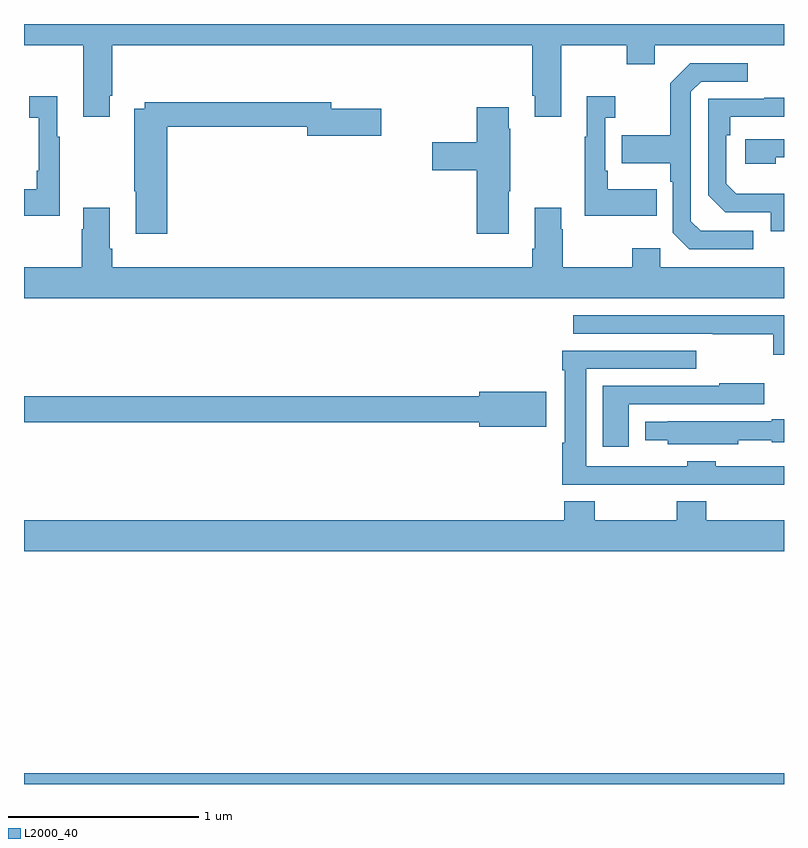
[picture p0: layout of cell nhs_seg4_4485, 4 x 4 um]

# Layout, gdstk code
import gdstk
lib = gdstk.Library(unit=1e-6, precision=1e-09)
def R(c, l, rs):  # rectangles x0, y0, x1, y1
    for r in rs: c.add(gdstk.rectangle(r[:2], r[2:], *l))
def P(c, l, *ps):  # polygons
    for p in ps: c.add(gdstk.Polygon(p, *l))
L2000_40 = (2000, 40)

nhs_seg4_4485 = lib.new_cell('nhs_seg4_4485')
R(nhs_seg4_4485, L2000_40, [(351,824.9,355,824.956)])
P(nhs_seg4_4485, L2000_40, [(351.451,828.523),(351.464,828.523),(351.464,828.788),(353.675,828.788),(353.675,828.523),(353.687,828.523),(353.687,828.411),(353.827,828.411),(353.827,828.788),(354.172,828.788),(354.172,828.689),(354.319,828.689),(354.319,828.788),(355,828.788),(355,828.9),(351,828.9),(351,828.788),(351.311,828.788),(351.311,828.411),(351.451,828.411)],
  [(354.838,827.811),(354.561,827.811),(354.51,827.862),(354.51,828.543),(354.564,828.597),(354.808,828.597),(354.808,828.693),(354.507,828.693),(354.402,828.587),(354.402,828.315),(354.145,828.315),(354.145,828.167),(354.402,828.167),(354.402,828.071),(354.414,828.071),(354.414,827.802),(354.501,827.715),(354.838,827.715)],
  [(351.187,828.307),(351.175,828.307),(351.175,828.52),(351.027,828.52),(351.027,828.407),(351.078,828.407),(351.078,828.127),(351.066,828.127),(351.066,828.031),(351,828.031),(351,827.891),(351.187,827.891)],
  [(354.329,828.031),(354.073,828.031),(354.073,828.127),(354.06,828.127),(354.06,828.407),(354.112,828.407),(354.112,828.52),(353.963,828.52),(353.963,828.307),(353.952,828.307),(353.952,827.891),(354.329,827.891)],
  [(355,828.007),(354.749,828.007),(354.696,828.06),(354.696,828.314),(354.716,828.314),(354.716,828.411),(355,828.411),(355,828.512),(354.895,828.512),(354.895,828.507),(354.6,828.507),(354.6,828),(354.69,827.91),(354.93,827.91),(354.93,827.808),(355,827.808)],
  [(351.755,828.358),(352.49,828.358),(352.49,828.311),(352.879,828.311),(352.879,828.453),(352.618,828.453),(352.618,828.487),(351.636,828.487),(351.636,828.454),(351.58,828.454),(351.58,828.019),(351.587,828.019),(351.587,827.796),(351.755,827.796)],
  [(353.551,828.019),(353.559,828.019),(353.559,828.35),(353.551,828.35),(353.551,828.463),(353.384,828.463),(353.384,828.278),(353.148,828.278),(353.148,828.131),(353.384,828.131),(353.384,827.796),(353.551,827.796)],
  [(354.956,828.198),(355,828.198),(355,828.294),(354.795,828.294),(354.795,828.164),(354.956,828.164)],
  [(355,827.62),(354.348,827.62),(354.348,827.719),(354.202,827.719),(354.202,827.62),(353.835,827.62),(353.835,827.819),(353.827,827.819),(353.827,827.932),(353.687,827.932),(353.687,827.716),(353.675,827.716),(353.675,827.62),(351.464,827.62),(351.464,827.716),(351.451,827.716),(351.451,827.932),(351.311,827.932),(351.311,827.819),(351.304,827.819),(351.304,827.62),(351,827.62),(351,827.456),(355,827.456)],
  [(355,827.367),(353.892,827.367),(353.892,827.271),(354.625,827.271),(354.625,827.266),(354.943,827.266),(354.943,827.16),(355,827.16)],
  [(354.965,826.476),(355,826.476),(355,826.572),(354.642,826.572),(354.642,826.6),(354.492,826.6),(354.492,826.572),(353.959,826.572),(353.959,827.085),(354.538,827.085),(354.538,827.181),(353.834,827.181),(353.834,827.078),(353.846,827.078),(353.846,826.697),(353.834,826.697),(353.834,826.475),(354.965,826.475)],
  [(354.184,826.899),(354.895,826.899),(354.895,827.008),(354.659,827.008),(354.659,826.995),(354.047,826.995),(354.047,826.674),(354.184,826.674)],
  [(353.749,826.964),(353.396,826.964),(353.396,826.94),(351,826.94),(351,826.804),(353.396,826.804),(353.396,826.781),(353.749,826.781)],
  [(354.759,826.709),(354.936,826.709),(354.936,826.7),(355,826.7),(355,826.821),(354.936,826.821),(354.936,826.81),(354.387,826.81),(354.387,826.806),(354.269,826.806),(354.269,826.709),(354.387,826.709),(354.387,826.688),(354.759,826.688)],
  [(355,826.288),(354.591,826.288),(354.591,826.387),(354.436,826.387),(354.436,826.288),(354.003,826.288),(354.003,826.387),(353.843,826.387),(353.843,826.288),(351,826.288),(351,826.124),(355,826.124)])

lib.write_gds('nhs_seg4_4485.gds')
